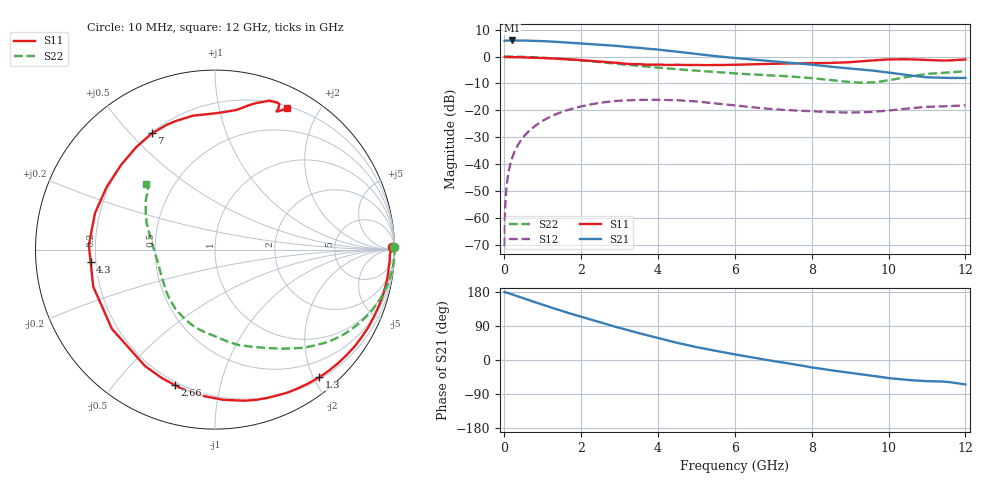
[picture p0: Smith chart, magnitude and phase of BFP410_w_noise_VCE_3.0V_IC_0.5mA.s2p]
! (c) 2015  Infineon Technologies AG, Munich
! Infineon Technologies  Discrete & RF Semiconductors
! BFP410
! VCE =  3.0 V,  IC =  0.5 mA
! Common Emitter S-Parameters:  Nov 2015
# GHz  S  MA  R  50
!  f  S11  S21  S12  S22
! GHz  MAG  ANG  MAG  ANG  MAG  ANG  MAG  ANG
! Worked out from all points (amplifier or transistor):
!   243 points, 10 MHz to 12 GHz, reference 50 ohm
!   highest |S21| = 6.0 dB at 200 MHz (marker M1)
!   |S21| within 3 dB of that: start of sweep to 3.679 GHz
!   unconditionally stable (mu >= 1): 4.816 GHz to end of sweep
!   at 240 MHz: K = 0.01, MSG = 21.1 dB, |S12| = -36.3 dB
!   at 1.84 GHz: K = 0.25, MSG = 12.1 dB, |S12| = -19.1 dB
!   at 12 GHz: K = 1.47, MAG = 1.0 dB, |S12| = -18.1 dB
!   lowest NFmin = 0.85 dB at 900 MHz
!   S11 on the Smith chart (normalised r, x): 10 MHz: open; 1.3 GHz: 0.23, -2.09; 2.66 GHz: 0.18, -0.73; 4.3 GHz: 0.18, -0.05; 7 GHz: 0.20, +0.58; 12 GHz: 0.23, +1.61
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0.01  0.9874 0.7  1.962 179.4  0.0003 50.8  1 0.8
0.015  0.9837 0.3  1.964 179.5  0.0008 79.0  0.9971 0.7
0.02  0.98 -0.1  1.967 179.6  0.0013 85.3  0.9942 0.5
0.05  0.9745 -1.8  1.972 178.1  0.0031 90.5  1 -0.5
0.115  0.9747 -4.2  1.983 176.3  0.0073 88.3  1 -2.1
0.2  0.9738 -7.5  1.989 173.4  0.0127 85.7  0.9987 -3.8
0.34  0.971 -12.8  1.989 168.6  0.0217 82.8  0.994 -6.5
0.6  0.9613 -22.9  1.973 159.3  0.0384 76.7  0.9815 -11.5
1.3  0.9188 -50.7  1.888 136.0  0.0822 59.6  0.9216 -23.9
2.02  0.8555 -79.6  1.751 113.6  0.1191 41.9  0.8443 -35.2
2.66  0.7876 -106.4  1.628 94.5  0.1431 26.3  0.7658 -44.4
3.5  0.7246 -142.4  1.453 70.9  0.1566 7.5  0.6708 -55.4
4.1  0.7019 -166.8  1.321 55.5  0.1566 -3.6  0.6137 -63.1
4.3  0.6965 -174.4  1.274 50.5  0.1552 -7.2  0.5963 -66.0
5  0.6988 163.0  1.119 34.0  0.1464 -18.5  0.5474 -76.2
6.1  0.7055 136.0  0.925 13.1  0.1213 -29.1  0.481 -90.6
7  0.7368 118.5  0.814 -2.8  0.1052 -31.2  0.4468 -104.4
8.2  0.7549 95.3  0.682 -22.4  0.0947 -29.3  0.3835 -128.3
9.4  0.8277 76.6  0.566 -39.2  0.0925 -22.2  0.3265 -166.6
10.2  0.8864 68.5  0.483 -49.7  0.1027 -18.6  0.3831 164.5
11  0.8623 65.8  0.411 -55.8  0.1166 -20.8  0.4753 144.2
12  0.8821 63.1  0.4 -64.5  0.1242 -25.0  0.5322 136.4
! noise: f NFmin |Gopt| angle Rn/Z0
0.45  0.91  0.8  10  0.81
0.9  0.85  0.78  25  0.75
1.8  1.38  0.67  59  0.64
2.4  1.54  0.64  75  0.53
5.5  3.38  0.54  -159  0.23
